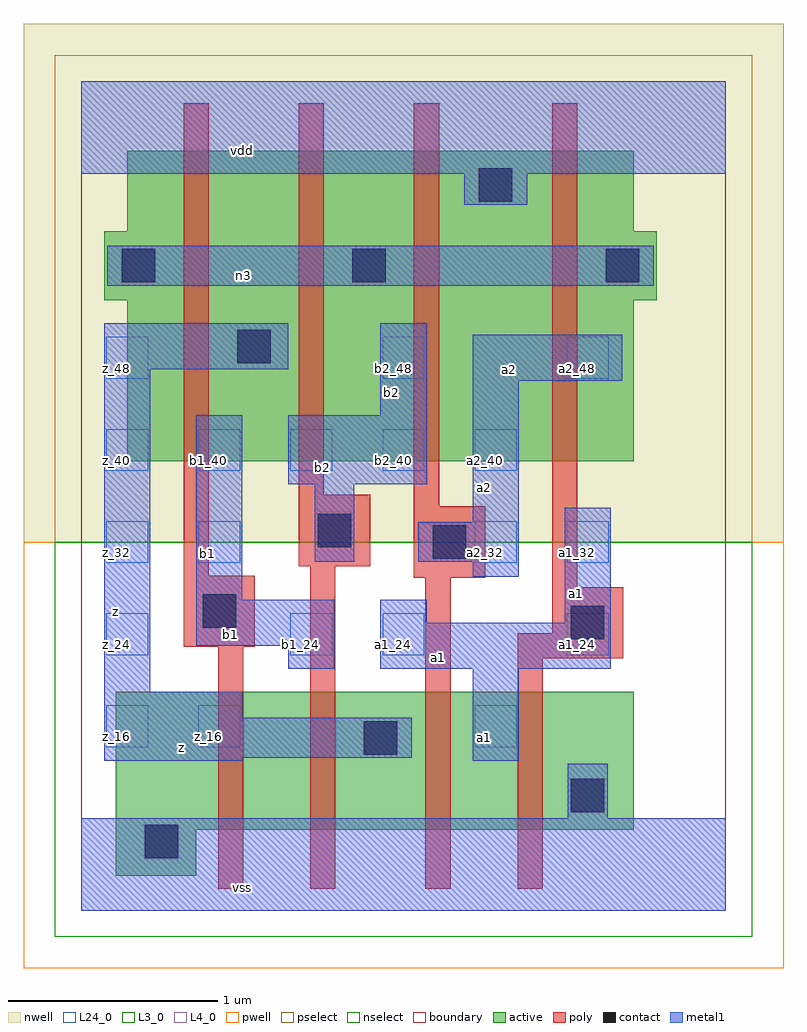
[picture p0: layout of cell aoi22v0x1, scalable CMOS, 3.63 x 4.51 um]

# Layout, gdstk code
import gdstk
lib = gdstk.Library(unit=1e-6, precision=2.5e-09)
def R(c, l, rs):  # rectangles x0, y0, x1, y1
    for r in rs: c.add(gdstk.rectangle(r[:2], r[2:], *l))
def A(c, l, x, y, w, h, nx, ny, dx, dy):  # array of equal rectangles
    R(c, l, [(x+i*dx, y+j*dy, x+i*dx+w, y+j*dy+h) for i in range(nx) for j in range(ny)])
L3_0 = (3, 0)
L4_0 = (4, 0)
L24_0 = (24, 0)
contact = (25, 0)
pwell = (41, 0)
nwell = (42, 0)
active = (43, 0)
pselect = (44, 0)
nselect = (45, 0)
poly = (46, 0)
metal1 = (49, 0)
boundary = (63, 0)

aoi22v0x1 = lib.new_cell('aoi22v0x1')
R(aoi22v0x1, L3_0, [(0.165,0.165,0.55,0.385), (0.165,0.385,2.64,1.045)])
R(aoi22v0x1, L4_0, [(0.22,2.145,2.64,2.915), (0.11,2.915,2.75,3.245), (0.22,3.245,2.64,3.63)])
A(aoi22v0x1, L24_0, 0.12, 0.78, 0.2, 0.2, 1, 3, 0, 0.44)
A(aoi22v0x1, L24_0, 0.12, 2.1, 0.2, 0.2, 5, 1, 0.44, 0)
R(aoi22v0x1, L24_0, [(0.56,0.78,0.76,0.98), (1.88,0.78,2.08,0.98), (1,1.22,1.2,1.42), (1.44,1.22,1.64,1.42), (2.32,1.22,2.52,1.42), (0.56,1.66,0.76,1.86), (1.88,1.66,2.08,1.86), (2.32,1.66,2.52,1.86), (0.12,2.54,0.32,2.74), (1.44,2.54,1.64,2.74), (2.32,2.54,2.52,2.74)])
R(aoi22v0x1, contact, [(0.305,0.25,0.465,0.41), (2.34,0.47,2.5,0.63), (1.35,0.745,1.51,0.905), (2.34,1.295,2.5,1.455), (0.58,1.35,0.74,1.51), (1.68,1.68,1.84,1.84), (1.13,1.735,1.29,1.895), (0.745,2.615,0.905,2.775), (0.195,3,0.355,3.16), (1.295,3,1.455,3.16), (2.505,3,2.665,3.16), (1.9,3.385,2.06,3.545)])
R(aoi22v0x1, pwell, [(-0.275,-0.275,3.355,1.76)])
R(aoi22v0x1, nwell, [(-0.275,1.76,3.355,4.235)])
R(aoi22v0x1, active, [(0.165,0.165,0.55,0.385), (0.165,0.385,2.64,1.045), (0.22,2.145,2.64,2.915), (0.11,2.915,2.75,3.245), (0.22,3.245,2.64,3.63)])
R(aoi22v0x1, pselect, [(-0.125,1.76,3.205,4.085)])
R(aoi22v0x1, nselect, [(-0.125,-0.125,3.205,1.76)])
R(aoi22v0x1, poly, [(0.655,0.105,0.775,1.26), (1.095,0.105,1.215,1.645), (1.645,0.105,1.765,1.59), (2.085,0.105,2.205,1.205), (2.085,1.205,2.59,1.325), (0.49,1.26,0.83,1.6), (2.25,1.325,2.59,1.545), (2.25,1.545,2.37,3.855), (1.59,1.59,1.93,1.93), (0.49,1.6,0.61,3.855), (1.04,1.645,1.38,1.985), (1.59,1.93,1.71,3.855), (1.04,1.985,1.16,3.855)])
R(aoi22v0x1, metal1, [(0,0,3.08,0.44), (2.325,0.44,2.515,0.7), (0.11,0.715,0.77,0.73), (1.87,0.715,2.09,1.155), (0.11,0.73,1.58,0.92), (0.11,0.92,0.77,1.045), (0.11,1.045,0.33,2.585), (0.99,1.155,1.21,1.265), (1.43,1.155,2.53,1.375), (0.55,1.265,1.21,1.485), (1.43,1.375,1.65,1.485), (2.31,1.375,2.53,1.925), (0.55,1.485,0.77,2.365), (1.87,1.595,2.09,1.665), (1.115,1.665,1.305,2.035), (1.61,1.665,2.09,1.855), (1.87,1.855,2.09,2.53), (0.99,2.035,1.65,2.365), (1.43,2.365,1.65,2.805), (1.87,2.53,2.585,2.75), (0.11,2.585,0.99,2.805), (0.125,2.985,2.735,3.175), (1.83,3.37,2.13,3.52), (0,3.52,3.08,3.96)])
R(aoi22v0x1, boundary, [(0,0,3.08,3.96)])
aoi22v0x1.add(gdstk.Label('vss', (0.77,0.11), layer=49, texttype=0))
aoi22v0x1.add(gdstk.Label('a1', (1.925,0.825), layer=49, texttype=0))
aoi22v0x1.add(gdstk.Label('z', (0.4775,0.7775), layer=49, texttype=0))
aoi22v0x1.add(gdstk.Label('a1', (1.705,1.21), layer=49, texttype=0))
aoi22v0x1.add(gdstk.Label('a1', (2.365,1.5125), layer=49, texttype=0))
aoi22v0x1.add(gdstk.Label('b1', (0.715,1.32), layer=49, texttype=0))
aoi22v0x1.add(gdstk.Label('a2', (1.925,2.0225), layer=49, texttype=0))
aoi22v0x1.add(gdstk.Label('a2', (2.0475,2.585), layer=49, texttype=0))
aoi22v0x1.add(gdstk.Label('b2', (1.155,2.1175), layer=49, texttype=0))
aoi22v0x1.add(gdstk.Label('b1', (0.605,1.705), layer=49, texttype=0))
aoi22v0x1.add(gdstk.Label('b2', (1.485,2.475), layer=49, texttype=0))
aoi22v0x1.add(gdstk.Label('z', (0.165,1.43), layer=49, texttype=0))
aoi22v0x1.add(gdstk.Label('n3', (0.7775,3.0325), layer=49, texttype=0))
aoi22v0x1.add(gdstk.Label('vdd', (0.77,3.63), layer=49, texttype=0))
aoi22v0x1.add(gdstk.Label('z_16', (0.61,0.83), layer=24, texttype=0))
aoi22v0x1.add(gdstk.Label('b1_32', (0.61,1.71), layer=24, texttype=0))
aoi22v0x1.add(gdstk.Label('b1_40', (0.61,2.15), layer=24, texttype=0))
aoi22v0x1.add(gdstk.Label('b1_24', (1.05,1.27), layer=24, texttype=0))
aoi22v0x1.add(gdstk.Label('b2_40', (1.05,2.15), layer=24, texttype=0))
aoi22v0x1.add(gdstk.Label('a1_24', (1.49,1.27), layer=24, texttype=0))
aoi22v0x1.add(gdstk.Label('b2_40', (1.49,2.15), layer=24, texttype=0))
aoi22v0x1.add(gdstk.Label('b2_48', (1.49,2.59), layer=24, texttype=0))
aoi22v0x1.add(gdstk.Label('a1_16', (1.93,0.83), layer=24, texttype=0))
aoi22v0x1.add(gdstk.Label('a2_32', (1.93,1.71), layer=24, texttype=0))
aoi22v0x1.add(gdstk.Label('a2_40', (1.93,2.15), layer=24, texttype=0))
aoi22v0x1.add(gdstk.Label('z_16', (0.17,0.83), layer=24, texttype=0))
aoi22v0x1.add(gdstk.Label('z_24', (0.17,1.27), layer=24, texttype=0))
aoi22v0x1.add(gdstk.Label('z_32', (0.17,1.71), layer=24, texttype=0))
aoi22v0x1.add(gdstk.Label('z_40', (0.17,2.15), layer=24, texttype=0))
aoi22v0x1.add(gdstk.Label('z_48', (0.17,2.59), layer=24, texttype=0))
aoi22v0x1.add(gdstk.Label('a1_24', (2.37,1.27), layer=24, texttype=0))
aoi22v0x1.add(gdstk.Label('a1_32', (2.37,1.71), layer=24, texttype=0))
aoi22v0x1.add(gdstk.Label('a2_48', (2.37,2.59), layer=24, texttype=0))

lib.write_gds('aoi22v0x1.gds')
